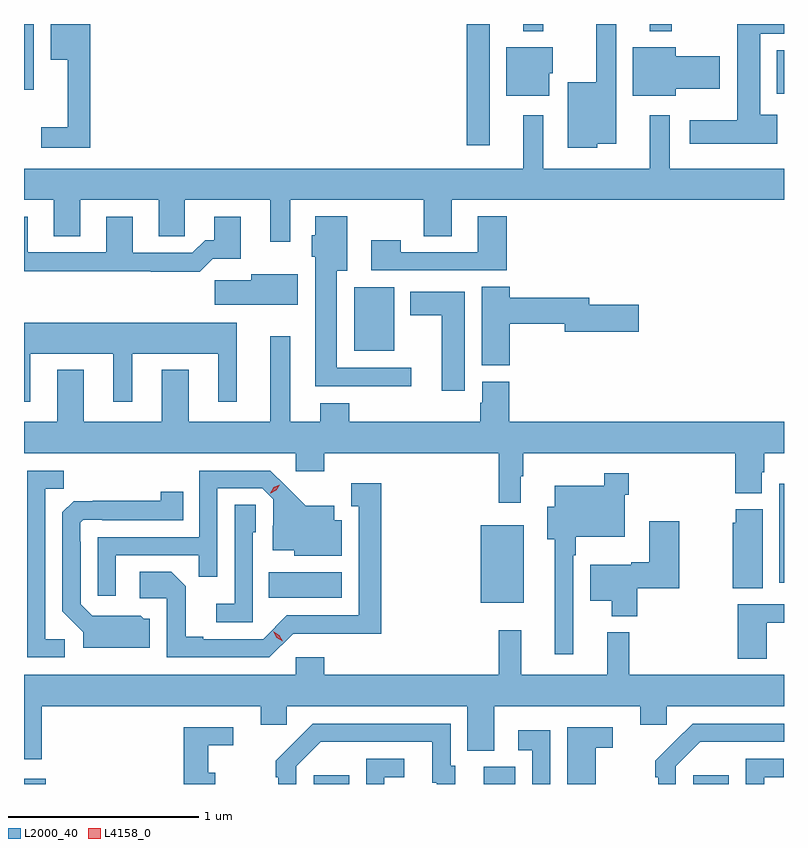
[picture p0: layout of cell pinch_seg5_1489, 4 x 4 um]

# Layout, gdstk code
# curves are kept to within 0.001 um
import gdstk
lib = gdstk.Library(unit=1e-6, precision=1e-09)
def R(c, l, rs):  # rectangles x0, y0, x1, y1
    for r in rs: c.add(gdstk.rectangle(r[:2], r[2:], *l))
def P(c, l, *ps):  # polygons
    for p in ps: c.add(gdstk.Polygon(p, *l))
L2000_40 = (2000, 40)
L4158_0 = (4158, 0)

pinch_seg5_1489 = lib.new_cell('pinch_seg5_1489')
R(pinch_seg5_1489, L2000_40, [(303.911,848.358,304.025,848.386), (305.435,848.358,305.623,848.404), (306.332,848.358,306.496,848.448), (307.433,848.358,307.621,848.404), (306.314,849.311,306.541,849.721), (305.2,849.338,305.584,849.472), (307.886,849.416,307.911,849.937), (305.648,850.637,305.86,850.972), (307.874,851.99,307.911,852.22), (303.911,852.012,303.963,852.358), (306.539,852.32,306.643,852.358), (307.205,852.32,307.319,852.358)])
P(pinch_seg5_1489, L2000_40, [(304.259,852.358),(304.052,852.358),(304.052,852.17),(304.142,852.17),(304.142,851.815),(304.002,851.815),(304.002,851.706),(304.259,851.706)],
  [(306.927,851.729),(307.027,851.729),(307.027,852.358),(306.923,852.358),(306.923,852.052),(306.773,852.052),(306.773,851.708),(306.927,851.708)],
  [(307.876,851.881),(307.786,851.881),(307.786,852.308),(307.911,852.308),(307.911,852.358),(307.664,852.358),(307.664,851.851),(307.416,851.851),(307.416,851.729),(307.876,851.729)],
  [(306.361,852.358),(305.898,852.358),(305.898,852.356),(306.24,852.356),(306.24,851.721),(306.361,851.721)],
  [(307.342,852.017),(307.573,852.017),(307.573,852.188),(307.342,852.188),(307.342,852.235),(307.115,852.235),(307.115,851.981),(307.342,851.981)],
  [(306.676,852.099),(306.694,852.099),(306.694,852.235),(306.449,852.235),(306.449,851.981),(306.676,851.981)],
  [(305.311,851.432),(306.016,851.432),(306.016,851.242),(306.163,851.242),(306.163,851.432),(307.911,851.432),(307.911,851.596),(307.309,851.596),(307.309,851.878),(307.205,851.878),(307.205,851.596),(306.643,851.596),(306.643,851.878),(306.539,851.878),(306.539,851.596),(303.911,851.596),(303.911,851.432),(304.067,851.432),(304.067,851.242),(304.207,851.242),(304.207,851.432),(304.619,851.432),(304.619,851.242),(304.758,851.242),(304.758,851.432),(305.207,851.432),(305.207,851.211),(305.311,851.211)],
  [(306.452,851.347),(306.299,851.347),(306.299,851.157),(305.895,851.157),(305.895,851.221),(305.739,851.221),(305.739,851.061),(306.452,851.061)],
  [(305.95,850.548),(305.557,850.548),(305.557,851.06),(305.611,851.06),(305.611,851.347),(305.444,851.347),(305.444,851.247),(305.426,851.247),(305.426,851.133),(305.444,851.133),(305.444,850.451),(305.95,850.451)],
  [(304.904,851.123),(305.053,851.123),(305.053,851.344),(304.913,851.344),(304.913,851.221),(304.864,851.221),(304.797,851.154),(304.483,851.154),(304.483,851.344),(304.343,851.344),(304.343,851.157),(303.931,851.157),(303.931,851.344),(303.911,851.344),(303.911,851.056),(304.579,851.056),(304.579,851.054),(304.835,851.054)],
  [(305.353,851.041),(305.108,851.041),(305.108,851.009),(304.914,851.009),(304.914,850.88),(305.353,850.88)],
  [(306.467,850.78),(306.758,850.78),(306.758,850.738),(307.147,850.738),(307.147,850.88),(306.886,850.88),(306.886,850.916),(306.467,850.916),(306.467,850.976),(306.32,850.976),(306.32,850.561),(306.467,850.561)],
  [(306.232,850.948),(305.945,850.948),(305.945,850.826),(306.11,850.826),(306.11,850.428),(306.232,850.428)],
  [(303.943,850.622),(304.382,850.622),(304.382,850.371),(304.48,850.371),(304.48,850.622),(304.934,850.622),(304.934,850.371),(305.032,850.371),(305.032,850.786),(303.911,850.786),(303.911,850.371),(303.943,850.371)],
  [(306.323,850.365),(306.311,850.365),(306.311,850.264),(305.624,850.264),(305.624,850.363),(305.471,850.363),(305.471,850.264),(305.311,850.264),(305.311,850.714),(305.207,850.714),(305.207,850.264),(304.777,850.264),(304.777,850.537),(304.637,850.537),(304.637,850.264),(304.225,850.264),(304.225,850.537),(304.085,850.537),(304.085,850.264),(303.911,850.264),(303.911,850.1),(305.34,850.1),(305.34,850.005),(305.492,850.005),(305.492,850.1),(306.409,850.1),(306.409,849.837),(306.526,849.837),(306.526,849.977),(306.538,849.977),(306.538,850.1),(307.655,850.1),(307.655,849.889),(307.795,849.889),(307.795,849.999),(307.808,849.999),(307.808,850.1),(307.911,850.1),(307.911,850.264),(306.464,850.264),(306.464,850.476),(306.323,850.476)],
  [(304.126,849.12),(304.023,849.12),(304.023,849.913),(304.119,849.913),(304.119,850.008),(303.927,850.008),(303.927,849.024),(304.126,849.024)],
  [(304.395,849.561),(304.831,849.561),(304.831,849.448),(304.929,849.448),(304.929,849.915),(305.166,849.915),(305.223,849.858),(305.223,849.716),(305.219,849.716),(305.219,849.587),(305.334,849.587),(305.334,849.56),(305.584,849.56),(305.584,849.745),(305.545,849.745),(305.545,849.823),(305.393,849.823),(305.206,850.008),(304.833,850.008),(304.833,849.657),(304.299,849.657),(304.299,849.348),(304.395,849.348)],
  [(306.801,849.563),(306.814,849.563),(306.814,849.659),(307.074,849.659),(307.074,849.881),(307.094,849.881),(307.094,849.994),(306.966,849.994),(306.966,849.928),(306.704,849.928),(306.704,849.817),(306.665,849.817),(306.665,849.647),(306.704,849.647),(306.704,849.042),(306.801,849.042)],
  [(305.328,849.15),(305.791,849.149),(305.791,849.94),(305.633,849.94),(305.633,849.819),(305.672,849.819),(305.672,849.246),(305.295,849.246),(305.169,849.12),(304.855,849.12),(304.855,849.133),(304.761,849.133),(304.761,849.4),(304.685,849.476),(304.521,849.476),(304.521,849.336),(304.662,849.336),(304.662,849.024),(305.202,849.024)],
  [(304.573,849.228),(304.542,849.228),(304.526,849.244),(304.269,849.243),(304.209,849.303),(304.209,849.632),(304.206,849.632),(304.206,849.732),(304.224,849.75),(304.324,849.75),(304.324,849.747),(304.748,849.747),(304.748,849.895),(304.63,849.895),(304.63,849.848),(304.172,849.847),(304.113,849.788),(304.113,849.266),(304.223,849.156),(304.223,849.074),(304.573,849.074)],
  [(305.115,849.684),(305.13,849.684),(305.13,849.827),(305.019,849.827),(305.019,849.307),(304.923,849.307),(304.923,849.21),(305.115,849.21)],
  [(307.798,849.804),(307.657,849.804),(307.657,849.732),(307.64,849.732),(307.64,849.388),(307.798,849.388)],
  [(307.139,849.389),(307.36,849.389),(307.36,849.742),(307.202,849.742),(307.202,849.524),(307.106,849.524),(307.106,849.511),(306.89,849.511),(306.89,849.323),(307.004,849.323),(307.004,849.242),(307.139,849.242)],
  [(307.819,849.207),(307.911,849.207),(307.911,849.303),(307.667,849.303),(307.667,849.018),(307.819,849.018)],
  [(305.492,849.025),(305.34,849.025),(305.34,848.932),(303.911,848.932),(303.911,848.487),(304.004,848.487),(304.004,848.768),(305.156,848.768),(305.156,848.67),(305.295,848.67),(305.295,848.768),(306.245,848.768),(306.245,848.533),(306.385,848.533),(306.385,848.768),(307.154,848.768),(307.154,848.67),(307.293,848.67),(307.293,848.768),(307.911,848.768),(307.911,848.932),(307.097,848.932),(307.097,849.157),(306.98,849.157),(306.98,848.932),(306.527,848.932),(306.527,849.166),(306.409,849.166),(306.409,848.932),(305.492,848.932)],
  [(305.343,848.451),(305.472,848.58),(306.059,848.58),(306.059,848.364),(306.083,848.364),(306.083,848.358),(306.181,848.358),(306.181,848.454),(306.156,848.454),(306.156,848.676),(305.432,848.676),(305.235,848.481),(305.235,848.393),(305.25,848.393),(305.25,848.358),(305.343,848.358)],
  [(307.341,848.451),(307.47,848.58),(307.911,848.58),(307.911,848.676),(307.43,848.676),(307.339,848.585),(307.338,848.586),(307.233,848.481),(307.233,848.393),(307.248,848.393),(307.248,848.358),(307.341,848.358)],
  [(306.919,848.55),(307.009,848.55),(307.009,848.658),(306.77,848.658),(306.77,848.358),(306.919,848.358)],
  [(304.918,848.416),(304.882,848.416),(304.882,848.561),(305.011,848.561),(305.011,848.658),(304.753,848.658),(304.753,848.358),(304.918,848.358)],
  [(306.681,848.641),(306.513,848.641),(306.513,848.535),(306.585,848.535),(306.585,848.358),(306.681,848.358)],
  [(307.806,848.394),(307.909,848.394),(307.909,848.49),(307.71,848.49),(307.71,848.358),(307.806,848.358)],
  [(305.808,848.394),(305.911,848.394),(305.911,848.49),(305.712,848.49),(305.712,848.358),(305.808,848.358)])
P(pinch_seg5_1489, L4158_0, [(305.272,849.109),(305.241,849.128),(305.223,849.161),(305.223,849.161),(305.224,849.161),(305.255,849.142),(305.273,849.109),(305.273,849.109)],
  [(305.208,849.889),(305.208,849.889),(305.225,849.919),(305.256,849.934),(305.256,849.934),(305.256,849.934),(305.239,849.905),(305.209,849.889)])

lib.write_gds('pinch_seg5_1489.gds')
